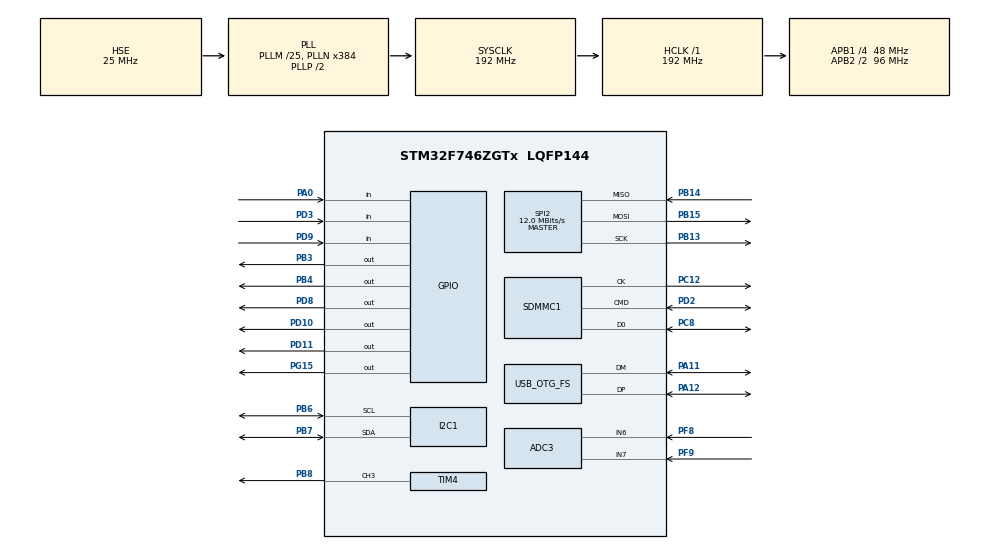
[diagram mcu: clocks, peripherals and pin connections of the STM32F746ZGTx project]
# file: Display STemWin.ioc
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ADC3.Channel-0\#ChannelRegularConversion=ADC_CHANNEL_6
ADC3.Channel-1\#ChannelRegularConversion=ADC_CHANNEL_7
ADC3.DMAContinuousRequests=ENABLE
ADC3.EOCSelection=ADC_EOC_SEQ_CONV
ADC3.NbrOfConversion=2
ADC3.NbrOfConversionFlag=1
ADC3.Rank-0\#ChannelRegularConversion=1
ADC3.Rank-1\#ChannelRegularConversion=2
ADC3.SamplingTime-0\#ChannelRegularConversion=ADC_SAMPLETIME_15CYCLES
ADC3.SamplingTime-1\#ChannelRegularConversion=ADC_SAMPLETIME_28CYCLES
ADC3.ScanConvMode=ADC_SCAN_ENABLE
CORTEX_M7.ART_ACCLERATOR_ENABLE=1
CORTEX_M7.CPU_DCache=Enabled
CORTEX_M7.CPU_ICache=Enabled
CORTEX_M7.PREFETCH_ENABLE=1
Dma.ADC3.0.Direction=DMA_PERIPH_TO_MEMORY
Dma.ADC3.0.FIFOMode=DMA_FIFOMODE_DISABLE
Dma.ADC3.0.Instance=DMA2_Stream0
Dma.ADC3.0.MemDataAlignment=DMA_MDATAALIGN_WORD
Dma.ADC3.0.MemInc=DMA_MINC_ENABLE
Dma.ADC3.0.Mode=DMA_CIRCULAR
Dma.ADC3.0.PeriphDataAlignment=DMA_PDATAALIGN_WORD
Dma.ADC3.0.PeriphInc=DMA_PINC_DISABLE
Dma.ADC3.0.Priority=DMA_PRIORITY_LOW
Dma.Request0=ADC3
FATFS._LFN_UNICODE=0
FATFS._MAX_SS=4096
FATFS._USE_FIND=1
FATFS._USE_LFN=3
I2C1.Timing=0x20303E5D
Mcu.Family=STM32F7
Mcu.Name=STM32F746ZGTx
Mcu.Package=LQFP144
NVIC.ADC_IRQn=true\:0\:0\:false\:false\:true\:true
NVIC.DMA2_Stream0_IRQn=true\:0\:0\:false\:false\:true\:false
NVIC.HASH_RNG_IRQn=true\:0\:0\:false\:false\:true\:true
NVIC.OTG_FS_IRQn=true\:0\:0\:false\:false\:true\:true
NVIC.PriorityGroup=NVIC_PRIORITYGROUP_4
NVIC.RCC_IRQn=true\:0\:0\:false\:false\:true\:true
NVIC.SDMMC1_IRQn=true\:0\:0\:false\:false\:true\:true
NVIC.SPI2_IRQn=true\:0\:0\:false\:false\:true\:true
NVIC.TIM3_IRQn=true\:0\:0\:false\:false\:true\:true
PA0/WKUP.Signal=GPIO_Input
PA11.Mode=Device_Only
PA11.Signal=USB_OTG_FS_DM
PA12.Mode=Device_Only
PA12.Signal=USB_OTG_FS_DP
PB13.Mode=Full_Duplex_Master
PB13.Signal=SPI2_SCK
PB14.Mode=Full_Duplex_Master
PB14.Signal=SPI2_MISO
PB15.Mode=Full_Duplex_Master
PB15.Signal=SPI2_MOSI
PB3.GPIO_Speed=GPIO_SPEED_FREQ_VERY_HIGH
PB3.Signal=GPIO_Output
PB4.GPIO_Speed=GPIO_SPEED_FREQ_VERY_HIGH
PB4.Signal=GPIO_Output
PB6.Mode=I2C
PB6.Signal=I2C1_SCL
PB7.Mode=I2C
PB7.Signal=I2C1_SDA
PB8.Signal=S_TIM4_CH3
PC12.Mode=SD_1_bit
PC12.Signal=SDMMC1_CK
PC14/OSC32_IN.Mode=LSE-External-Oscillator
PC14/OSC32_IN.Signal=RCC_OSC32_IN
PC15/OSC32_OUT.Mode=LSE-External-Oscillator
PC15/OSC32_OUT.Signal=RCC_OSC32_OUT
PC8.Mode=SD_1_bit
PC8.Signal=SDMMC1_D0
PD10.GPIO_Speed=GPIO_SPEED_FREQ_VERY_HIGH
PD10.Signal=GPIO_Output
PD11.GPIO_Speed=GPIO_SPEED_FREQ_VERY_HIGH
PD11.Signal=GPIO_Output
PD2.Mode=SD_1_bit
PD2.Signal=SDMMC1_CMD
PD3.Signal=GPIO_Input
PD8.GPIO_Speed=GPIO_SPEED_FREQ_VERY_HIGH
PD8.Signal=GPIO_Output
PD9.Signal=GPIO_Input
PF8.Mode=IN6
PF8.Signal=ADC3_IN6
PF9.Mode=IN7
PF9.Signal=ADC3_IN7
PG15.GPIO_Speed=GPIO_SPEED_FREQ_VERY_HIGH
PG15.Signal=GPIO_Output
PH0/OSC_IN.Mode=HSE-External-Oscillator
PH0/OSC_IN.Signal=RCC_OSC_IN
PH1/OSC_OUT.Mode=HSE-External-Oscillator
PH1/OSC_OUT.Signal=RCC_OSC_OUT
ProjectManager.HeapSize=0x200
ProjectManager.StackSize=0x400
ProjectManager.TargetToolchain=SW4STM32
RCC.AHBFreq_Value=192000000
RCC.APB1CLKDivider=RCC_HCLK_DIV4
RCC.APB1Freq_Value=48000000
RCC.APB1TimFreq_Value=96000000
RCC.APB2CLKDivider=RCC_HCLK_DIV2
RCC.APB2Freq_Value=96000000
RCC.APB2TimFreq_Value=192000000
RCC.CortexFreq_Value=192000000
RCC.HCLKFreq_Value=192000000
RCC.HSE_VALUE=25000000
RCC.HSI_VALUE=16000000
RCC.PLLM=25
RCC.PLLN=384
RCC.PLLQ=8
RCC.SDMMCClockSelection=RCC_SDMMC1CLKSOURCE_CLK48
RCC.SYSCLKFreq_VALUE=192000000
RCC.SYSCLKSource=RCC_SYSCLKSOURCE_PLLCLK
RCC.USBFreq_Value=48000000
RCC.VCOOutputFreq_Value=384000000
RTC.Date=7
RTC.Format=RTC_FORMAT_BIN
RTC.Month=RTC_MONTH_JULY
RTC.WeekDay=RTC_WEEKDAY_MONDAY
RTC.Year=19
SH.S_TIM4_CH3.0=TIM4_CH3,PWM Generation3 CH3
SPI2.BaudRatePrescaler=SPI_BAUDRATEPRESCALER_4
SPI2.CalculateBaudRate=12.0 MBits/s
SPI2.DataSize=SPI_DATASIZE_8BIT
SPI2.Direction=SPI_DIRECTION_2LINES
SPI2.Mode=SPI_MODE_MASTER
SPI2.VirtualType=VM_MASTER
TIM3.Period=200
TIM3.Prescaler=27
TIM4.Channel-PWM\ Generation3\ CH3=TIM_CHANNEL_3
TIM4.OCPolarity_3=TIM_OCPOLARITY_LOW
TIM4.Period=200
TIM4.Prescaler=108
USB_DEVICE.APP_RX_DATA_SIZE-CDC_FS=256
USB_DEVICE.APP_TX_DATA_SIZE-CDC_FS=256
USB_DEVICE.CLASS_NAME_FS=CDC
USB_DEVICE.VirtualMode-CDC_FS=Cdc
USB_DEVICE.VirtualModeFS=Cdc_FS
USB_OTG_FS.VirtualMode=Device_Only
VP_CRC_VS_CRC.Mode=CRC_Activate
VP_FATFS_VS_SDIO.Mode=SDIO
VP_RNG_VS_RNG.Mode=RNG_Activate
VP_RTC_VS_RTC_Activate.Mode=RTC_Enabled
VP_RTC_VS_RTC_Calendar.Mode=RTC_Calendar
VP_TIM3_VS_ClockSourceINT.Mode=Internal
VP_TIM4_VS_ClockSourceINT.Mode=Internal
VP_USB_DEVICE_VS_USB_DEVICE_CDC_FS.Mode=CDC_FS
board=custom

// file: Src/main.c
/**
  ******************************************************************************
  * @file           : main.c
  * @brief          : Main program body
  ******************************************************************************
  * This notice applies to any and all portions of this file
  * that are not between comment pairs USER CODE BEGIN and
  * USER CODE END. Other portions of this file, whether
  * inserted by the user or by software development tools
  * are owned by their respective copyright owners.
  *
  * Copyright (c) 2019 STMicroelectronics International N.V.
  * All rights reserved.
  *
  * Redistribution and use in source and binary forms, with or without
  * modification, are permitted, provided that the following conditions are met:
  *
  * 1. Redistribution of source code must retain the above copyright notice,
  *    this list of conditions and the following disclaimer.
  * 2. Redistributions in binary form must reproduce the above copyright notice,
  *    this list of conditions and the following disclaimer in the documentation
  *    and/or other materials provided with the distribution.
  * 3. Neither the name of STMicroelectronics nor the names of other
  *    contributors to this software may be used to endorse or promote products
  *    derived from this software without specific written permission.
  * 4. This software, including modifications and/or derivative works of this
  *    software, must execute solely and exclusively on microcontroller or
  *    microprocessor devices manufactured by or for STMicroelectronics.
  * 5. Redistribution and use of this software other than as permitted under
  *    this license is void and will automatically terminate your rights under
  *    this license.
  *
  * THIS SOFTWARE IS PROVIDED BY STMICROELECTRONICS AND CONTRIBUTORS "AS IS"
  * AND ANY EXPRESS, IMPLIED OR STATUTORY WARRANTIES, INCLUDING, BUT NOT
  * LIMITED TO, THE IMPLIED WARRANTIES OF MERCHANTABILITY, FITNESS FOR A
  * PARTICULAR PURPOSE AND NON-INFRINGEMENT OF THIRD PARTY INTELLECTUAL PROPERTY
  * RIGHTS ARE DISCLAIMED TO THE FULLEST EXTENT PERMITTED BY LAW. IN NO EVENT
  * SHALL STMICROELECTRONICS OR CONTRIBUTORS BE LIABLE FOR ANY DIRECT, INDIRECT,
  * INCIDENTAL, SPECIAL, EXEMPLARY, OR CONSEQUENTIAL DAMAGES (INCLUDING, BUT NOT
  * LIMITED TO, PROCUREMENT OF SUBSTITUTE GOODS OR SERVICES; LOSS OF USE, DATA,
  * OR PROFITS; OR BUSINESS INTERRUPTION) HOWEVER CAUSED AND ON ANY THEORY OF
  * LIABILITY, WHETHER IN CONTRACT, STRICT LIABILITY, OR TORT (INCLUDING
  * NEGLIGENCE OR OTHERWISE) ARISING IN ANY WAY OUT OF THE USE OF THIS SOFTWARE,
  * EVEN IF ADVISED OF THE POSSIBILITY OF SUCH DAMAGE.
  *
  ******************************************************************************
  */
#include "main.h"
#include "stm32f7xx_hal.h"
#include "fatfs.h"
#include "usb_device.h"

/* USER CODE BEGIN Includes */
#include "usbd_cdc_if.h"
#include "GUI.h"
//hardware
#include "STMPE610.h"
#include "SSD1963.h"
#include "VS1053.h"
#include "ADXL345.h"
//software
#include "MP3.h"
#include "loadFromSD.h"
//windows
#include "LEDDLG.h"
#include "BUZZERDLG.h"
#include "INFODLG.h"
#include "MP3DLG.h"
#include "LIGHTDLG.h"
#include "MENUDLG.h"
#include "TEMPDLG.h"
#include "ACCELDLG.h"
#include "TIMEDLG.h"
#include "FILESDLG.h"
#include "SETTIMEDLG.h"
#include "SETDATEDLG.h"
#include "USBDLG.h"
#include "QWERTYDLG.h"

/* USER CODE END Includes */

ADC_HandleTypeDef hadc3;
DMA_HandleTypeDef hdma_adc3;

CRC_HandleTypeDef hcrc;

I2C_HandleTypeDef hi2c1;

RNG_HandleTypeDef hrng;

RTC_HandleTypeDef hrtc;

SD_HandleTypeDef hsd1;

SPI_HandleTypeDef hspi2;

TIM_HandleTypeDef htim3;
TIM_HandleTypeDef htim4;

/* USER CODE BEGIN PV */
/* Private variables ---------------------------------------------------------*/
#define RED 	0xF800
#define GREEN 	0x07E0
#define BLUE 	0x001F

// main menu items
#define MENU 	0x00
#define LED 	0x10
#define TEMP 	0x20
#define LIGHT 	0x30
#define ACCEL 	0x40
#define TIME 	0x50
#define TOUCH 	0x60
#define SLIDE 	0x70
#define BUZZER 	0x80
#define MP3 	0x90
#define USB 	0xA0
#define FILES 	0xB0
#define INFO 	0xC0
#define SETTIME 0xD0
#define SETDATE 0xE0

//variable
uint8_t state=0;
int keyPressed=0;
int8_t val=0;
uint16_t c=0, i=0, j=0, k=0;
uint16_t x_accel=0;
uint16_t y_accel=0;
uint16_t z_accel=0;
WM_HWIN hWin, hWin1;
char dataADC[20];
char dataLOG[20];
uint32_t ADC_BUF[2], ADC_Result, ad1, ad2;
float pom=0;
int scroll_state;
int volume=0;
uint8_t slider_RED=0, slider_GREEN=0, slider_BLUE=0, graph=0, backlight=0xC0, logg=0, SD_present=0;
uint16_t counter_LED=0, GUI_timer=0;
//uint8_t img_line[480*8*3]={0};
FATFS myFAT;
FIL myFile, AccelFile;
FRESULT res;

uint8_t myData[]="Hello world!!!\n";

UINT byteCount;

extern uint8_t UserRxBufferFS[256];
extern char message[256];
extern unsigned int cursor;

int RcalX[3]={24, 240, 456};
int RcalY[3]={14, 258, 136};
int ScalX[3]={336, 2039, 3742};
int ScalY[3]={510, 3640, 2077};

GRAPH_DATA_Handle hData;
GRAPH_DATA_Handle hData1;
GRAPH_DATA_Handle hData2;
RTC_TimeTypeDef htime;
RTC_DateTypeDef hdate;

GUI_PID_STATE hstate;

/* USER CODE END PV */

void SystemClock_Config(void);
static void MX_GPIO_Init(void);
static void MX_DMA_Init(void);
static void MX_I2C1_Init(void);
static void MX_SPI2_Init(void);
static void MX_SDMMC1_SD_Init(void);
static void MX_ADC3_Init(void);
static void MX_CRC_Init(void);
static void MX_RNG_Init(void);
static void MX_RTC_Init(void);
static void MX_TIM3_Init(void);
static void MX_TIM4_Init(void);

void HAL_TIM_MspPostInit(TIM_HandleTypeDef *htim);

/* USER CODE BEGIN PFP */
void Menu_State_Exec(void);
/* Private function prototypes -----------------------------------------------*/
extern volatile GUI_TIMER_TIME OS_TimeMS;
void HAL_SYSTICK_Callback(void)
{
	OS_TimeMS++;
}

/* USER CODE END PFP */

int main(void)
{

  /* Enable I-Cache-------------------------------------------------------------*/
  SCB_EnableICache();

  /* Enable D-Cache-------------------------------------------------------------*/
  SCB_EnableDCache();

  /* MCU Configuration----------------------------------------------------------*/

  /* Reset of all peripherals, Initializes the Flash interface and the Systick. */
  HAL_Init();

  /* Configure the system clock */
  SystemClock_Config();

  /* Initialize all configured peripherals */
  MX_GPIO_Init();
  MX_DMA_Init();
  MX_I2C1_Init();
  MX_SPI2_Init();
  MX_SDMMC1_SD_Init();
  MX_FATFS_Init();
  MX_USB_DEVICE_Init();
  MX_ADC3_Init();
  MX_CRC_Init();
  MX_RNG_Init();
  MX_RTC_Init();
  MX_TIM3_Init();
  MX_TIM4_Init();
  /* USER CODE BEGIN 2 */
  Init_LCD_GPIO();
  Init_TOUCH_GPIO(hi2c1);
  Init_ACCEL_GPIO(hi2c1);
  Init_MP3_GPIO(hspi2);

  HAL_Delay(1000);
  ADXL345_Init();
  VS1053_Init();

  WM_SetCreateFlags(WM_CF_MEMDEV); // eliminise flickering
  GUI_Init();
  GUI_Clear();

  SSD1963_SetScrollArea(0, 272, 544);
  SSD1963_SetScrollStart(0);
  GUI_Clear();

  FATFS_UnLinkDriver(SDPath);

  hWin=CreateMENU();
  SSD1963_SetScrollStart(0);

  HAL_ADC_Start_DMA(&hadc3,(uint32_t*)ADC_BUF, 2);
  HAL_ADC_Start_IT(&hadc3);

  HAL_TIM_Base_Start_IT(&htim3);

  HAL_Delay(100);

  /* USER CODE END 2 */

  /* Infinite loop */
  /* USER CODE BEGIN WHILE */
  while (1)
  {
	  HAL_ADC_Start_IT(&hadc3);
	  GUI_Delay(1);
	  STMPE610_read_xyz();
	  GUI_TOUCH_Exec();
	  keyPressed=GUI_GetKey();
	  Menu_State_Exec();
  /* USER CODE END WHILE */

  }

}

void SystemClock_Config(void)
{

  RCC_OscInitTypeDef RCC_OscInitStruct;
  RCC_ClkInitTypeDef RCC_ClkInitStruct;
  RCC_PeriphCLKInitTypeDef PeriphClkInitStruct;

    /**Configure the main internal regulator output voltage
    */
  __HAL_RCC_PWR_CLK_ENABLE();

  __HAL_PWR_VOLTAGESCALING_CONFIG(PWR_REGULATOR_VOLTAGE_SCALE1);

    /**Initializes the CPU, AHB and APB busses clocks
    */
  RCC_OscInitStruct.OscillatorType = RCC_OSCILLATORTYPE_LSI|RCC_OSCILLATORTYPE_HSE;
  RCC_OscInitStruct.HSEState = RCC_HSE_ON;
  RCC_OscInitStruct.LSIState = RCC_LSI_ON;
  RCC_OscInitStruct.PLL.PLLState = RCC_PLL_ON;
  RCC_OscInitStruct.PLL.PLLSource = RCC_PLLSOURCE_HSE;
  RCC_OscInitStruct.PLL.PLLM = 25;
  RCC_OscInitStruct.PLL.PLLN = 384;
  RCC_OscInitStruct.PLL.PLLP = RCC_PLLP_DIV2;
  RCC_OscInitStruct.PLL.PLLQ = 8;
  if (HAL_RCC_OscConfig(&RCC_OscInitStruct) != HAL_OK)
  {
    _Error_Handler(__FILE__, __LINE__);
  }

    /**Activate the Over-Drive mode
    */
  if (HAL_PWREx_EnableOverDrive() != HAL_OK)
  {
    _Error_Handler(__FILE__, __LINE__);
  }

    /**Initializes the CPU, AHB and APB busses clocks
    */
  RCC_ClkInitStruct.ClockType = RCC_CLOCKTYPE_HCLK|RCC_CLOCKTYPE_SYSCLK
                              |RCC_CLOCKTYPE_PCLK1|RCC_CLOCKTYPE_PCLK2;
  RCC_ClkInitStruct.SYSCLKSource = RCC_SYSCLKSOURCE_PLLCLK;
  RCC_ClkInitStruct.AHBCLKDivider = RCC_SYSCLK_DIV1;
  RCC_ClkInitStruct.APB1CLKDivider = RCC_HCLK_DIV4;
  RCC_ClkInitStruct.APB2CLKDivider = RCC_HCLK_DIV2;

  if (HAL_RCC_ClockConfig(&RCC_ClkInitStruct, FLASH_LATENCY_6) != HAL_OK)
  {
    _Error_Handler(__FILE__, __LINE__);
  }

  PeriphClkInitStruct.PeriphClockSelection = RCC_PERIPHCLK_RTC|RCC_PERIPHCLK_I2C1
                              |RCC_PERIPHCLK_SDMMC1|RCC_PERIPHCLK_CLK48;
  PeriphClkInitStruct.RTCClockSelection = RCC_RTCCLKSOURCE_LSI;
  PeriphClkInitStruct.I2c1ClockSelection = RCC_I2C1CLKSOURCE_PCLK1;
  PeriphClkInitStruct.Clk48ClockSelection = RCC_CLK48SOURCE_PLL;
  PeriphClkInitStruct.Sdmmc1ClockSelection = RCC_SDMMC1CLKSOURCE_CLK48;
  if (HAL_RCCEx_PeriphCLKConfig(&PeriphClkInitStruct) != HAL_OK)
  {
    _Error_Handler(__FILE__, __LINE__);
  }

    /**Configure the Systick interrupt time
    */
  HAL_SYSTICK_Config(HAL_RCC_GetHCLKFreq()/1000);

    /**Configure the Systick
    */
  HAL_SYSTICK_CLKSourceConfig(SYSTICK_CLKSOURCE_HCLK);

  /* SysTick_IRQn interrupt configuration */
  HAL_NVIC_SetPriority(SysTick_IRQn, 0, 0);
}

/* ADC3 init function */
static void MX_ADC3_Init(void)
{

  ADC_ChannelConfTypeDef sConfig;

    /**Configure the global features of the ADC (Clock, Resolution, Data Alignment and number of conversion)
    */
  hadc3.Instance = ADC3;
  hadc3.Init.ClockPrescaler = ADC_CLOCK_SYNC_PCLK_DIV4;
  hadc3.Init.Resolution = ADC_RESOLUTION_12B;
  hadc3.Init.ScanConvMode = ADC_SCAN_ENABLE;
  hadc3.Init.ContinuousConvMode = DISABLE;
  hadc3.Init.DiscontinuousConvMode = DISABLE;
  hadc3.Init.ExternalTrigConvEdge = ADC_EXTERNALTRIGCONVEDGE_NONE;
  hadc3.Init.ExternalTrigConv = ADC_SOFTWARE_START;
  hadc3.Init.DataAlign = ADC_DATAALIGN_RIGHT;
  hadc3.Init.NbrOfConversion = 2;
  hadc3.Init.DMAContinuousRequests = ENABLE;
  hadc3.Init.EOCSelection = ADC_EOC_SEQ_CONV;
  if (HAL_ADC_Init(&hadc3) != HAL_OK)
  {
    _Error_Handler(__FILE__, __LINE__);
  }

    /**Configure for the selected ADC regular channel its corresponding rank in the sequencer and its sample time.
    */
  sConfig.Channel = ADC_CHANNEL_6;
  sConfig.Rank = ADC_REGULAR_RANK_1;
  sConfig.SamplingTime = ADC_SAMPLETIME_15CYCLES;
  if (HAL_ADC_ConfigChannel(&hadc3, &sConfig) != HAL_OK)
  {
    _Error_Handler(__FILE__, __LINE__);
  }

    /**Configure for the selected ADC regular channel its corresponding rank in the sequencer and its sample time.
    */
  sConfig.Channel = ADC_CHANNEL_7;
  sConfig.Rank = ADC_REGULAR_RANK_2;
  sConfig.SamplingTime = ADC_SAMPLETIME_28CYCLES;
  if (HAL_ADC_ConfigChannel(&hadc3, &sConfig) != HAL_OK)
  {
    _Error_Handler(__FILE__, __LINE__);
  }

}

/* CRC init function */
static void MX_CRC_Init(void)
{

  hcrc.Instance = CRC;
  hcrc.Init.DefaultPolynomialUse = DEFAULT_POLYNOMIAL_ENABLE;
  hcrc.Init.DefaultInitValueUse = DEFAULT_INIT_VALUE_ENABLE;
  hcrc.Init.InputDataInversionMode = CRC_INPUTDATA_INVERSION_NONE;
  hcrc.Init.OutputDataInversionMode = CRC_OUTPUTDATA_INVERSION_DISABLE;
  hcrc.InputDataFormat = CRC_INPUTDATA_FORMAT_BYTES;
  if (HAL_CRC_Init(&hcrc) != HAL_OK)
  {
    _Error_Handler(__FILE__, __LINE__);
  }

}

/* I2C1 init function */
static void MX_I2C1_Init(void)
{

  hi2c1.Instance = I2C1;
  hi2c1.Init.Timing = 0x20303E5D;
  hi2c1.Init.OwnAddress1 = 0;
  hi2c1.Init.AddressingMode = I2C_ADDRESSINGMODE_7BIT;
  hi2c1.Init.DualAddressMode = I2C_DUALADDRESS_DISABLE;
  hi2c1.Init.OwnAddress2 = 0;
  hi2c1.Init.OwnAddress2Masks = I2C_OA2_NOMASK;
  hi2c1.Init.GeneralCallMode = I2C_GENERALCALL_DISABLE;
  hi2c1.Init.NoStretchMode = I2C_NOSTRETCH_DISABLE;
  if (HAL_I2C_Init(&hi2c1) != HAL_OK)
  {
    _Error_Handler(__FILE__, __LINE__);
  }

    /**Configure Analogue filter
    */
  if (HAL_I2CEx_ConfigAnalogFilter(&hi2c1, I2C_ANALOGFILTER_ENABLE) != HAL_OK)
  {
    _Error_Handler(__FILE__, __LINE__);
  }

    /**Configure Digital filter
    */
  if (HAL_I2CEx_ConfigDigitalFilter(&hi2c1, 0) != HAL_OK)
  {
    _Error_Handler(__FILE__, __LINE__);
  }

}

/* RNG init function */
static void MX_RNG_Init(void)
{

  hrng.Instance = RNG;
  if (HAL_RNG_Init(&hrng) != HAL_OK)
  {
    _Error_Handler(__FILE__, __LINE__);
  }

}

/* RTC init function */
static void MX_RTC_Init(void)
{

  RTC_TimeTypeDef sTime;
  RTC_DateTypeDef sDate;

    /**Initialize RTC Only
    */
  hrtc.Instance = RTC;
  hrtc.Init.HourFormat = RTC_HOURFORMAT_24;
  hrtc.Init.AsynchPrediv = 127;
  hrtc.Init.SynchPrediv = 255;
  hrtc.Init.OutPut = RTC_OUTPUT_DISABLE;
  hrtc.Init.OutPutPolarity = RTC_OUTPUT_POLARITY_HIGH;
  hrtc.Init.OutPutType = RTC_OUTPUT_TYPE_OPENDRAIN;
  if (HAL_RTC_Init(&hrtc) != HAL_OK)
  {
    _Error_Handler(__FILE__, __LINE__);
  }

    /**Initialize RTC and set the Time and Date
    */
  sTime.Hours = 0;
  sTime.Minutes = 0;
  sTime.Seconds = 0;
  sTime.DayLightSaving = RTC_DAYLIGHTSAVING_NONE;
  sTime.StoreOperation = RTC_STOREOPERATION_RESET;
  if (HAL_RTC_SetTime(&hrtc, &sTime, RTC_FORMAT_BIN) != HAL_OK)
  {
    _Error_Handler(__FILE__, __LINE__);
  }

  sDate.WeekDay = RTC_WEEKDAY_MONDAY;
  sDate.Month = RTC_MONTH_JULY;
  sDate.Date = 7;
  sDate.Year = 19;

  if (HAL_RTC_SetDate(&hrtc, &sDate, RTC_FORMAT_BIN) != HAL_OK)
  {
    _Error_Handler(__FILE__, __LINE__);
  }

}

/* SDMMC1 init function */
static void MX_SDMMC1_SD_Init(void)
{

  hsd1.Instance = SDMMC1;
  hsd1.Init.ClockEdge = SDMMC_CLOCK_EDGE_RISING;
  hsd1.Init.ClockBypass = SDMMC_CLOCK_BYPASS_DISABLE;
  hsd1.Init.ClockPowerSave = SDMMC_CLOCK_POWER_SAVE_DISABLE;
  hsd1.Init.BusWide = SDMMC_BUS_WIDE_1B;
  hsd1.Init.HardwareFlowControl = SDMMC_HARDWARE_FLOW_CONTROL_DISABLE;
  hsd1.Init.ClockDiv = 0;

}

/* SPI2 init function */
static void MX_SPI2_Init(void)
{

  /* SPI2 parameter configuration*/
  hspi2.Instance = SPI2;
  hspi2.Init.Mode = SPI_MODE_MASTER;
  hspi2.Init.Direction = SPI_DIRECTION_2LINES;
  hspi2.Init.DataSize = SPI_DATASIZE_8BIT;
  hspi2.Init.CLKPolarity = SPI_POLARITY_LOW;
  hspi2.Init.CLKPhase = SPI_PHASE_1EDGE;
  hspi2.Init.NSS = SPI_NSS_SOFT;
  hspi2.Init.BaudRatePrescaler = SPI_BAUDRATEPRESCALER_4;
  hspi2.Init.FirstBit = SPI_FIRSTBIT_MSB;
  hspi2.Init.TIMode = SPI_TIMODE_DISABLE;
  hspi2.Init.CRCCalculation = SPI_CRCCALCULATION_DISABLE;
  hspi2.Init.CRCPolynomial = 7;
  hspi2.Init.CRCLength = SPI_CRC_LENGTH_DATASIZE;
  hspi2.Init.NSSPMode = SPI_NSS_PULSE_ENABLE;
  if (HAL_SPI_Init(&hspi2) != HAL_OK)
  {
    _Error_Handler(__FILE__, __LINE__);
  }

}

/* TIM3 init function */
static void MX_TIM3_Init(void)
{

  TIM_ClockConfigTypeDef sClockSourceConfig;
  TIM_MasterConfigTypeDef sMasterConfig;

  htim3.Instance = TIM3;
  htim3.Init.Prescaler = 27;
  htim3.Init.CounterMode = TIM_COUNTERMODE_UP;
  htim3.Init.Period = 200;
  htim3.Init.ClockDivision = TIM_CLOCKDIVISION_DIV1;
  htim3.Init.AutoReloadPreload = TIM_AUTORELOAD_PRELOAD_DISABLE;
  if (HAL_TIM_Base_Init(&htim3) != HAL_OK)
  {
    _Error_Handler(__FILE__, __LINE__);
  }

  sClockSourceConfig.ClockSource = TIM_CLOCKSOURCE_INTERNAL;
  if (HAL_TIM_ConfigClockSource(&htim3, &sClockSourceConfig) != HAL_OK)
  {
    _Error_Handler(__FILE__, __LINE__);
  }

  sMasterConfig.MasterOutputTrigger = TIM_TRGO_RESET;
  sMasterConfig.MasterSlaveMode = TIM_MASTERSLAVEMODE_DISABLE;
  if (HAL_TIMEx_MasterConfigSynchronization(&htim3, &sMasterConfig) != HAL_OK)
  {
    _Error_Handler(__FILE__, __LINE__);
  }

}

/* TIM4 init function */
static void MX_TIM4_Init(void)
{

  TIM_ClockConfigTypeDef sClockSourceConfig;
  TIM_MasterConfigTypeDef sMasterConfig;
  TIM_OC_InitTypeDef sConfigOC;

  htim4.Instance = TIM4;
  htim4.Init.Prescaler = 108;
  htim4.Init.CounterMode = TIM_COUNTERMODE_UP;
  htim4.Init.Period = 200;
  htim4.Init.ClockDivision = TIM_CLOCKDIVISION_DIV1;
  htim4.Init.AutoReloadPreload = TIM_AUTORELOAD_PRELOAD_DISABLE;
  if (HAL_TIM_Base_Init(&htim4) != HAL_OK)
  {
    _Error_Handler(__FILE__, __LINE__);
  }

  sClockSourceConfig.ClockSource = TIM_CLOCKSOURCE_INTERNAL;
  if (HAL_TIM_ConfigClockSource(&htim4, &sClockSourceConfig) != HAL_OK)
  {
    _Error_Handler(__FILE__, __LINE__);
  }

  if (HAL_TIM_PWM_Init(&htim4) != HAL_OK)
  {
    _Error_Handler(__FILE__, __LINE__);
  }

  sMasterConfig.MasterOutputTrigger = TIM_TRGO_RESET;
  sMasterConfig.MasterSlaveMode = TIM_MASTERSLAVEMODE_DISABLE;
  if (HAL_TIMEx_MasterConfigSynchronization(&htim4, &sMasterConfig) != HAL_OK)
  {
    _Error_Handler(__FILE__, __LINE__);
  }

  sConfigOC.OCMode = TIM_OCMODE_PWM1;
  sConfigOC.Pulse = 0;
  sConfigOC.OCPolarity = TIM_OCPOLARITY_LOW;
  sConfigOC.OCFastMode = TIM_OCFAST_DISABLE;
  if (HAL_TIM_PWM_ConfigChannel(&htim4, &sConfigOC, TIM_CHANNEL_3) != HAL_OK)
  {
    _Error_Handler(__FILE__, __LINE__);
  }

  HAL_TIM_MspPostInit(&htim4);

}

static void MX_DMA_Init(void)
{
  /* DMA controller clock enable */
  __HAL_RCC_DMA2_CLK_ENABLE();

  /* DMA interrupt init */
  /* DMA2_Stream0_IRQn interrupt configuration */
  HAL_NVIC_SetPriority(DMA2_Stream0_IRQn, 0, 0);
  HAL_NVIC_EnableIRQ(DMA2_Stream0_IRQn);

}

/** Configure pins as
        * Analog
        * Input
        * Output
        * EVENT_OUT
        * EXTI
*/
static void MX_GPIO_Init(void)
{

  GPIO_InitTypeDef GPIO_InitStruct;

  /* GPIO Ports Clock Enable */
  __HAL_RCC_GPIOC_CLK_ENABLE();
  __HAL_RCC_GPIOF_CLK_ENABLE();
  __HAL_RCC_GPIOH_CLK_ENABLE();
  __HAL_RCC_GPIOA_CLK_ENABLE();
  __HAL_RCC_GPIOB_CLK_ENABLE();
  __HAL_RCC_GPIOD_CLK_ENABLE();
  __HAL_RCC_GPIOG_CLK_ENABLE();

  /*Configure GPIO pin Output Level */
  HAL_GPIO_WritePin(GPIOD, GPIO_PIN_8|GPIO_PIN_10|GPIO_PIN_11, GPIO_PIN_RESET);

  /*Configure GPIO pin Output Level */
  HAL_GPIO_WritePin(GPIOG, GPIO_PIN_15, GPIO_PIN_RESET);

  /*Configure GPIO pin Output Level */
  HAL_GPIO_WritePin(GPIOB, GPIO_PIN_3|GPIO_PIN_4, GPIO_PIN_RESET);

  /*Configure GPIO pin : PA0 */
  GPIO_InitStruct.Pin = GPIO_PIN_0;
  GPIO_InitStruct.Mode = GPIO_MODE_INPUT;
  GPIO_InitStruct.Pull = GPIO_NOPULL;
  HAL_GPIO_Init(GPIOA, &GPIO_InitStruct);

  /*Configure GPIO pins : PD8 PD10 PD11 */
  GPIO_InitStruct.Pin = GPIO_PIN_8|GPIO_PIN_10|GPIO_PIN_11;
  GPIO_InitStruct.Mode = GPIO_MODE_OUTPUT_PP;
  GPIO_InitStruct.Pull = GPIO_NOPULL;
  GPIO_InitStruct.Speed = GPIO_SPEED_FREQ_VERY_HIGH;
  HAL_GPIO_Init(GPIOD, &GPIO_InitStruct);

  /*Configure GPIO pins : PD9 PD3 */
  GPIO_InitStruct.Pin = GPIO_PIN_9|GPIO_PIN_3;
  GPIO_InitStruct.Mode = GPIO_MODE_INPUT;
  GPIO_InitStruct.Pull = GPIO_NOPULL;
  HAL_GPIO_Init(GPIOD, &GPIO_InitStruct);

  /*Configure GPIO pin : PG15 */
  GPIO_InitStruct.Pin = GPIO_PIN_15;
  GPIO_InitStruct.Mode = GPIO_MODE_OUTPUT_PP;
  GPIO_InitStruct.Pull = GPIO_NOPULL;
  GPIO_InitStruct.Speed = GPIO_SPEED_FREQ_VERY_HIGH;
  HAL_GPIO_Init(GPIOG, &GPIO_InitStruct);

  /*Configure GPIO pins : PB3 PB4 */
  GPIO_InitStruct.Pin = GPIO_PIN_3|GPIO_PIN_4;
  GPIO_InitStruct.Mode = GPIO_MODE_OUTPUT_PP;
  GPIO_InitStruct.Pull = GPIO_NOPULL;
  GPIO_InitStruct.Speed = GPIO_SPEED_FREQ_VERY_HIGH;
  HAL_GPIO_Init(GPIOB, &GPIO_InitStruct);

}

/* USER CODE BEGIN 4 */

void HAL_ADC_ConvHalfCpltCallback(ADC_HandleTypeDef* hadc)
{
	if(hadc->Instance==ADC3)
	{
		ad1=ADC_BUF[0];
		ad2=ADC_BUF[1];
	}

}

void HAL_TIM_PeriodElapsedCallback(TIM_HandleTypeDef *htim)
{

	if(htim->Instance==TIM3)
	{
		counter_LED++;
		if(counter_LED==255)
		{
			counter_LED=0;

			if(counter_LED==slider_GREEN)HAL_GPIO_WritePin(GPIOB, GPIO_PIN_3, GPIO_PIN_RESET);
			else HAL_GPIO_WritePin(GPIOB, GPIO_PIN_3, GPIO_PIN_SET);
			if(counter_LED==slider_BLUE)HAL_GPIO_WritePin(GPIOB, GPIO_PIN_4, GPIO_PIN_RESET);
			else HAL_GPIO_WritePin(GPIOB, GPIO_PIN_4, GPIO_PIN_SET);
			if(counter_LED==slider_RED)HAL_GPIO_WritePin(GPIOG, GPIO_PIN_15, GPIO_PIN_RESET);
			else HAL_GPIO_WritePin(GPIOG, GPIO_PIN_15, GPIO_PIN_SET);
		}

		if(counter_LED==slider_GREEN)HAL_GPIO_WritePin(GPIOB, GPIO_PIN_3, GPIO_PIN_RESET);
		if(counter_LED==slider_BLUE)HAL_GPIO_WritePin(GPIOB, GPIO_PIN_4, GPIO_PIN_RESET);
		if(counter_LED==slider_RED)HAL_GPIO_WritePin(GPIOG, GPIO_PIN_15, GPIO_PIN_RESET);
	}

}

void Menu_State_Exec(void)
{
	  switch (state)
	  {
	  	  case MENU:
	  		  switch(keyPressed)
	  		  {
	  		  	  case (GUI_ID_USER + LED): // LED Control
	  							scroll_state=SCROLLBAR_GetValue(WM_GetDialogItem(hWin, (GUI_ID_USER + 0x0E)));
	  							WM_DeleteWindow(hWin);
	  							state=LED;
	  							hWin=CreateLED();
	  							GUI_Delay(200);
	  							break;
	  		  	  case (GUI_ID_USER + TEMP): // Temperature
	  							scroll_state=SCROLLBAR_GetValue(WM_GetDialogItem(hWin, (GUI_ID_USER + 0x0E)));
	  							WM_DeleteWindow(hWin);
	  							state=TEMP;
	  							hWin=CreateTEMP();
	  							GUI_Delay(200);
	  							break;
	  		  	  case (GUI_ID_USER + LIGHT): // Light
	  							scroll_state=SCROLLBAR_GetValue(WM_GetDialogItem(hWin, (GUI_ID_USER + 0x0E)));
	  							WM_DeleteWindow(hWin);
	  							state=LIGHT;
	  							hWin=CreateLIGHT();
	  							SLIDER_SetValue(WM_GetDialogItem(hWin, (GUI_ID_USER + 0x07 + LIGHT)), backlight);
	  							GUI_Delay(200);
	  							break;
	  		  	  case (GUI_ID_USER + ACCEL): // Accelerometer
	  							scroll_state=SCROLLBAR_GetValue(WM_GetDialogItem(hWin, (GUI_ID_USER + 0x0E)));
	  							WM_DeleteWindow(hWin);
	  							state=ACCEL;
	  							hWin=CreateACCEL();
	  							hData=GRAPH_DATA_YT_Create(GUI_BLUE, 440, 0, 0);
	  							GRAPH_AttachData(WM_GetDialogItem(hWin, (GUI_ID_USER + 0x01+ACCEL)), hData);
	  							hData1=GRAPH_DATA_YT_Create(GUI_DARKGREEN , 440, 0, 0);
	  							GRAPH_AttachData(WM_GetDialogItem(hWin, (GUI_ID_USER + 0x01+ACCEL)), hData1);
	  							hData2=GRAPH_DATA_YT_Create(GUI_RED , 440, 0, 0);
	  							GRAPH_AttachData(WM_GetDialogItem(hWin, (GUI_ID_USER + 0x01+ACCEL)), hData2);
	  							if(SD_present)CHECKBOX_SetTextColor (WM_GetDialogItem(hWin, (GUI_ID_USER + 0x04 +	ACCEL)), GUI_BLACK);
	  							else  CHECKBOX_SetTextColor (WM_GetDialogItem(hWin, (GUI_ID_USER + 0x04 +	ACCEL)), GUI_RED);
	  							graph=1;
	  							GUI_Delay(200);
	  							break;
	  		  	  case (GUI_ID_USER + TIME): // Time/Date
	  							scroll_state=SCROLLBAR_GetValue(WM_GetDialogItem(hWin, (GUI_ID_USER + 0x0E)));
	  							WM_DeleteWindow(hWin);
	  							state=TIME;
	  							hWin=CreateTIME();
	  							GUI_Delay(200);
	  							break;
	  		  	  case (GUI_ID_USER + TOUCH): // Touch calibration
	  							scroll_state=SCROLLBAR_GetValue(WM_GetDialogItem(hWin, (GUI_ID_USER + 0x0E)));
	  							WM_DeleteWindow(hWin);
	  							GUI_Clear();
	  							state=TOUCH;
	  							break;
	  		  	  case (GUI_ID_USER + SLIDE): // Image SlideShow
	  							scroll_state=SCROLLBAR_GetValue(WM_GetDialogItem(hWin, (GUI_ID_USER + 0x0E)));
	  							WM_DeleteWindow(hWin);
	  							GUI_Clear();
	  							state=SLIDE;
	  							break;
	  		  	 case (GUI_ID_USER + MP3)://MP3
	  							scroll_state=SCROLLBAR_GetValue(WM_GetDialogItem(hWin, (GUI_ID_USER + 0x0E)));
	  							WM_DeleteWindow(hWin);
	  							GUI_Clear();
	  							state=MP3;
	  							hWin=CreateMP3();
	  							MP3_MountSD();
	  							PopulateMP3List(hWin);
	  							MP3_SetState(STOP);
	  							MP3_Exec();
	  							GUI_Delay(200);
	  				  	  	  	break;
	  		  	 case (GUI_ID_USER + BUZZER)://Buzzer
	  							scroll_state=SCROLLBAR_GetValue(WM_GetDialogItem(hWin, (GUI_ID_USER + 0x0E)));
	  							WM_DeleteWindow(hWin);
	  							GUI_Clear();
	  							state=BUZZER;
	  							hWin=CreateBUZZER();
	  							GUI_Delay(200);
	  							break;
	  		  	 case (GUI_ID_USER + USB)://USB
	  							scroll_state=SCROLLBAR_GetValue(WM_GetDialogItem(hWin, (GUI_ID_USER + 0x0E)));
	  							WM_DeleteWindow(hWin);
	  							GUI_Clear();
	  							state=USB;
	  							hWin=CreateUSB();
	  							hWin1=CreateQWERTY();
	  							GUI_Delay(200);
	  							break;
	  		  	 case (GUI_ID_USER + FILES)://Files
	  							scroll_state=SCROLLBAR_GetValue(WM_GetDialogItem(hWin, (GUI_ID_USER + 0x0E)));
	  							WM_DeleteWindow(hWin);
	  							GUI_Clear();
	  							state=FILES;
	  							hWin=CreateFILES();
	  							GUI_Delay(200);
	  							break;
	  		  	 case (GUI_ID_USER + INFO): //Info
	  							scroll_state=SCROLLBAR_GetValue(WM_GetDialogItem(hWin, (GUI_ID_USER + 0x0E)));
	  							WM_DeleteWindow(hWin);
	  							GUI_Clear();
	  							state=INFO;
	  							hWin=CreateINFO();
	  							GUI_Delay(200);
	  							break;
	  		  }
	  		  break;
	  	  case LED:
	  		  slider_RED=SLIDER_GetValue(WM_GetDialogItem(hWin, (GUI_ID_USER + 0x05 + LED)));
	  		  sprintf((char*)dataADC, "%d", slider_RED);
	  		  EDIT_SetText(WM_GetDialogItem(hWin, (GUI_ID_USER + 0x06 + LED)), dataADC);

	  		  slider_GREEN=SLIDER_GetValue(WM_GetDialogItem(hWin, (GUI_ID_USER + 0x03 + LED)));
	  		  sprintf((char*)dataADC, "%d", slider_GREEN);
	  		  EDIT_SetText(WM_GetDialogItem(hWin, (GUI_ID_USER + 0x04 + LED)), dataADC);

	  		  slider_BLUE=SLIDER_GetValue(WM_GetDialogItem(hWin, (GUI_ID_USER + 0x01 + LED)));
	  		  sprintf((char*)dataADC, "%d", slider_BLUE);
	  		  EDIT_SetText(WM_GetDialogItem(hWin, (GUI_ID_USER + 0x02 + LED)), dataADC);

	  		  if(keyPressed==(GUI_ID_USER + 0x0B + LED)) // close btn
	  		  {
					WM_DeleteWindow(hWin);
					state=MENU;
					hWin=CreateMENU();
					SCROLLBAR_SetValue(WM_GetDialogItem(hWin, (GUI_ID_USER + 0x0E)),scroll_state);
					GUI_Delay(200);
	  		  }
	  		  break;
	  	  case TEMP:
	  		  pom=(float)ad1;
	  		  pom=100.0*((pom)/(2048)-0.5);
	  		  sprintf((char*)dataADC, "%d", (uint16_t)pom);
	  		  EDIT_SetText(WM_GetDialogItem(hWin, (GUI_ID_USER + 0x05 + TEMP)), dataADC);
	  		  if(keyPressed==(GUI_ID_USER + 0x04 + TEMP)) //close btn
	  		  {
					WM_DeleteWindow(hWin);
					state=MENU;
					hWin=CreateMENU();
					SCROLLBAR_SetValue(WM_GetDialogItem(hWin, (GUI_ID_USER + 0x0E)),scroll_state);
					GUI_Delay(200);
	  		  }
	  		  break;
	  	  case LIGHT:
	  		  pom=(float)ad2;
	  		  pom=100.0*(pom)/(4095);
	  		  backlight=(uint8_t)SLIDER_GetValue(WM_GetDialogItem(hWin, (GUI_ID_USER + 0x07 + LIGHT)));
	  		  SSD1963_SetBacklight(backlight);
	  		  sprintf((char*)dataADC, "%d", (uint16_t)pom);
	  		  EDIT_SetText(WM_GetDialogItem(hWin, (GUI_ID_USER + 0x04 + LIGHT)), dataADC);
	  		  PROGBAR_SetValue(WM_GetDialogItem(hWin, (GUI_ID_USER + 0x01 + LIGHT)), ad2);
	  		  if(keyPressed==(GUI_ID_USER + 0x03 + LIGHT)) //close btn
	  		  {
					WM_DeleteWindow(hWin);
					state=MENU;
					hWin=CreateMENU();
					SCROLLBAR_SetValue(WM_GetDialogItem(hWin, (GUI_ID_USER + 0x0E)),scroll_state);
					GUI_Delay(200);
	  		  }
	  		  break;
	  	  case ACCEL:
	  		  ADXL345_read_xyz();
			  x_accel=(int)ADXL345_GetX_ACCEL()+400;
			  y_accel=(int)ADXL345_GetY_ACCEL()+400;
			  z_accel=(int)ADXL345_GetZ_ACCEL()+648;
			  GRAPH_DATA_YT_AddValue(hData, (uint16_t)((x_accel)>>2));
			  GRAPH_DATA_YT_AddValue(hData1, (uint16_t)((y_accel)>>2));
			  GRAPH_DATA_YT_AddValue(hData2, (uint16_t)((z_accel)>>2));
			  if(HAL_GPIO_ReadPin(GPIOD, GPIO_PIN_3)==GPIO_PIN_SET&&SD_present)
			  {
				  if(state==ACCEL)
				  {
					  GUI_StoreKey(GUI_ID_USER + 0x04 + ACCEL);
					  logg=0;
				  }

				  SD_present=0;

			  }
			  if(HAL_GPIO_ReadPin(GPIOD, GPIO_PIN_3)==GPIO_PIN_RESET&&!SD_present)
			  {
				  if(state==ACCEL)
				  {
					  CHECKBOX_SetTextColor (WM_GetDialogItem(hWin, (GUI_ID_USER + 0x04 +	ACCEL)), GUI_BLACK);
				  }
				  SD_present=1;
			  }

			  if(logg)
			  {
				  sprintf((char*)dataLOG, "%d\t%d\t%d%s", (uint16_t)x_accel, (uint16_t)y_accel, (uint16_t)z_accel, "\n");

				  f_printf(&AccelFile, "%s", dataLOG);
				  f_sync(&AccelFile);
			  }

			  if(keyPressed==(GUI_ID_USER + 0x04 + ACCEL)) // log check box
			  {
					logg=0;
					if(!SD_present)
					{
						 CHECKBOX_SetState(WM_GetDialogItem(hWin, (GUI_ID_USER + 0x04 +	ACCEL)), CHECKBOX_BI_INACTIV_UNCHECKED);
						 CHECKBOX_SetText(WM_GetDialogItem(hWin, (GUI_ID_USER + 0x04 +	ACCEL)), "Log");
						 CHECKBOX_SetTextColor (WM_GetDialogItem(hWin, (GUI_ID_USER + 0x04 + ACCEL)), GUI_RED);
						 f_close(&AccelFile);
						 f_mount(0, SDPath, 1);
						 FATFS_UnLinkDriver(SDPath);
					}
					else
					{

					  if(CHECKBOX_IsChecked(WM_GetDialogItem(hWin, (GUI_ID_USER + 0x04 + ACCEL))))
					  {
						  FATFS_LinkDriver(&SD_Driver, SDPath);
						  res=f_mount(&myFAT, SDPath, 1);
						  if(res==FR_OK)
						  {
							  f_open(&AccelFile, "accel.txt", FA_OPEN_ALWAYS|FA_WRITE|FA_READ);
							  f_lseek(&AccelFile, f_size(&AccelFile));
							  logg=1;
							  CHECKBOX_SetText(WM_GetDialogItem(hWin, (GUI_ID_USER + 0x04 +	ACCEL)), "Log->ON");
							  CHECKBOX_SetTextColor (WM_GetDialogItem(hWin, (GUI_ID_USER + 0x04 + ACCEL)), GUI_GREEN);
						  }

					  }
					  else
					  {
						  f_close(&AccelFile);
						  f_mount(0, SDPath, 1);
						  FATFS_UnLinkDriver(SDPath);
						  CHECKBOX_SetText(WM_GetDialogItem(hWin, (GUI_ID_USER + 0x04 +	ACCEL)), "Log");
						  CHECKBOX_SetTextColor (WM_GetDialogItem(hWin, (GUI_ID_USER + 0x04 + ACCEL)), GUI_BLACK);

					  }
					}
					GUI_Delay(200);
			  }

			  if(keyPressed==(GUI_ID_USER + 0x03 + ACCEL)) // close btn
			  {
					WM_DeleteWindow(hWin);
					state=MENU;
					graph=0;
					logg=0;
					f_close(&AccelFile);
					f_mount(0, SDPath, 1);
					FATFS_UnLinkDriver(SDPath);
					hWin=CreateMENU();
					SCROLLBAR_SetValue(WM_GetDialogItem(hWin, (GUI_ID_USER + 0x0E)),scroll_state);
					GUI_Delay(200);
			  }
	  		  break;
	  	  case TIME:
			  HAL_RTC_GetTime(&hrtc, &htime, RTC_FORMAT_BIN);
			  HAL_RTC_GetDate(&hrtc, &hdate, RTC_FORMAT_BIN);
			  dataADC[0]=0x30;
			  dataADC[1]=0x30;
			  sprintf((char*)dataADC, "%02d", (uint16_t)htime.Seconds);
			  EDIT_SetText(WM_GetDialogItem(hWin, (GUI_ID_USER + 0x04 + TIME)), dataADC);
			  sprintf((char*)dataADC, "%02d", (uint16_t)htime.Minutes);
			  EDIT_SetText(WM_GetDialogItem(hWin, (GUI_ID_USER + 0x03 + TIME)), dataADC);
			  sprintf((char*)dataADC, "%02d", (uint16_t)htime.Hours);
			  EDIT_SetText(WM_GetDialogItem(hWin, (GUI_ID_USER + 0x02 + TIME)), dataADC);
			  sprintf((char*)dataADC, "%02d/%02d/%02d", (uint16_t)hdate.Date, (uint16_t)hdate.Month, (uint16_t)hdate.Year);
			  TEXT_SetText(WM_GetDialogItem(hWin, (GUI_ID_USER + 0x0B + TIME)), dataADC);

			  if(keyPressed==(GUI_ID_USER + 0x09 + TIME))// Set time
			  {
					WM_DeleteWindow(hWin1);
					state=SETTIME;
					hWin1=CreateSETTIME();
					SPINBOX_SetValue(WM_GetDialogItem(hWin1, (GUI_ID_USER + 0x02 + SETTIME)),htime.Hours);
					SPINBOX_SetValue(WM_GetDialogItem(hWin1, (GUI_ID_USER + 0x03 + SETTIME)),htime.Minutes);
					SPINBOX_SetValue(WM_GetDialogItem(hWin1, (GUI_ID_USER + 0x04 + SETTIME)),htime.Seconds);
					GUI_Delay(200);
			  }

			  if(keyPressed==(GUI_ID_USER + 0x0A + TIME))// Set date
			  {
					WM_DeleteWindow(hWin1);
					state=SETDATE;
					hWin1=CreateSETDATE();
					SPINBOX_SetValue(WM_GetDialogItem(hWin1, (GUI_ID_USER + 0x02 + SETDATE)),hdate.Date);
					SPINBOX_SetValue(WM_GetDialogItem(hWin1, (GUI_ID_USER + 0x03 + SETDATE)),hdate.Month);
					SPINBOX_SetValue(WM_GetDialogItem(hWin1, (GUI_ID_USER + 0x04 + SETDATE)),hdate.Year);
					GUI_Delay(200);
			  }

			  if(keyPressed==(GUI_ID_USER + 0x07 + TIME)) // close btn
			  {
					WM_DeleteWindow(hWin1);
					WM_DeleteWindow(hWin);
					state=MENU;
					hWin=CreateMENU();
					SCROLLBAR_SetValue(WM_GetDialogItem(hWin, (GUI_ID_USER + 0x0E)),scroll_state);
					GUI_Delay(200);
			  }

	  		  break;
	  	  case TOUCH:
	  		  GUI_Clear();

	  		  GUI_SetFont(&GUI_Font8x16);
	  		  GUI_SetColor(GUI_WHITE);
	  		  GUI_DispStringAt("Touch RED circle ", 170, 130);
	  		  HAL_Delay(500);

	  		  GUI_SetColor(GUI_RED);
	  		  GUI_DrawCircle(RcalX[0], RcalY[0], 3);
	  		  GUI_FillCircle(RcalX[0], RcalY[0], 3);
	  		  while(!STMPE610_IsTouched());
	  		  HAL_Delay(300);
	  		  STMPE610_read_xyz();
	  		  GUI_SetColor(GUI_GREEN);
	  		  GUI_DrawCircle(RcalX[0], RcalY[0], 3);
	  		  GUI_FillCircle(RcalX[0], RcalY[0], 3);
	  		  ScalX[0]=STMPE610_GetX_TOUCH_RAW();
	  		  ScalY[0]=STMPE610_GetY_TOUCH_RAW();
	  		  sprintf((char*)dataADC, "%d", (uint16_t)ScalX[0]);
	  		  GUI_DispStringAt(dataADC, RcalX[0]+10, RcalY[0]-5);
	  		  sprintf((char*)dataADC, "%d", (uint16_t)ScalY[0]);
	  		  GUI_DispStringAt(dataADC, RcalX[0]+10, RcalY[0]+10);

	  		  GUI_SetColor(GUI_RED);
	  		  GUI_DrawCircle(RcalX[1], RcalY[1], 3);
	  		  GUI_FillCircle(RcalX[1], RcalY[1], 3);
	  		  while(!STMPE610_IsTouched());
	  		  HAL_Delay(300);
	  		  STMPE610_read_xyz();
	  		  GUI_SetColor(GUI_GREEN);
	  		  GUI_DrawCircle(RcalX[1], RcalY[1], 3);
	  		  GUI_FillCircle(RcalX[1], RcalY[1], 3);
	  		  ScalX[1]=STMPE610_GetX_TOUCH_RAW();
	  		  ScalY[1]=STMPE610_GetY_TOUCH_RAW();
	  		  sprintf((char*)dataADC, "%d", (uint16_t)ScalX[1]);
	  		  GUI_DispStringAt(dataADC, RcalX[1]+10, RcalY[1]-17);
	  		  sprintf((char*)dataADC, "%d", (uint16_t)ScalY[1]);
	  		  GUI_DispStringAt(dataADC, RcalX[1]+10, RcalY[1]-3);

	  		  GUI_SetColor(GUI_RED);
	  		  GUI_DrawCircle(RcalX[2], RcalY[2], 3);
	  		  GUI_FillCircle(RcalX[2], RcalY[2], 3);
	  		  while(!STMPE610_IsTouched());
	  		  HAL_Delay(300);
	  		  STMPE610_read_xyz();
	  		  GUI_SetColor(GUI_GREEN);
	  		  GUI_DrawCircle(RcalX[2], RcalY[2], 3);
	  		  GUI_FillCircle(RcalX[2], RcalY[2], 3);
	  		  ScalX[2]=STMPE610_GetX_TOUCH_RAW();
	  		  ScalY[2]=STMPE610_GetY_TOUCH_RAW();
	  		  sprintf((char*)dataADC, "%d", (uint16_t)ScalX[2]);
	  		  GUI_DispStringAt(dataADC, RcalX[2]-40, RcalY[2]-10);
	  		  sprintf((char*)dataADC, "%d", (uint16_t)ScalY[2]);
	  		  GUI_DispStringAt(dataADC, RcalX[2]-40, RcalY[2]+5);

	  		  HAL_Delay(1000);

	  		  GUI_TOUCH_CalcCoefficients(3, RcalX, RcalY, ScalX, ScalY, 480, 272);

	  		  GUI_Clear();
	  		  GUI_SetColor(GUI_WHITE);
	  		  GUI_DispStringAt("Test calibration - PRESS touch panel", 100, 130);

	  		  for(i=0; i<200; i++)
	  		  {
	  			  STMPE610_read_xyz();
	  			  GUI_TOUCH_Exec();
	  			  if(GUI_TOUCH_GetState(&hstate))
	  			  {
	  				  GUI_DrawPoint(hstate.x, hstate.y);
	  			  }
	  			  HAL_Delay(50);
	  		  }

	  		  GUI_Clear();
	  		  GUI_SetColor(GUI_WHITE);
	  		  GUI_DispStringAt("PRESS touch panel if calibration is OK before time expires", 10, 120);
	  		  HAL_Delay(300);
	  		  for(j=0; j<10; j++)
	  		  {
				  for(i=0; i<100; i++)
				  {
					  HAL_Delay(10);

					 STMPE610_read_xyz();
					 GUI_TOUCH_Exec();
					 if(GUI_TOUCH_GetState(&hstate))
					 {
						 GUI_Clear();
						 GUI_DispStringAt("Calibration DONE!!!", 160, 120);
						 HAL_Delay(1000);
						 GUI_Clear();

						 state=MENU;
						 hWin=CreateMENU();
			 		  	 SCROLLBAR_SetValue(WM_GetDialogItem(hWin, (GUI_ID_USER + 0x0E)),scroll_state);

						 GUI_Exec();

						 j=10;
						 i=100;

					 }
				  }
				  sprintf((char*)dataADC, "%d", (uint16_t)(9-j));
				  GUI_DispStringAt(dataADC, 235, 140);
	  		  }
	  		  GUI_Clear();
	  		  GUI_DispStringAt("Repeating Calibration!!!", 160, 120);
	  		  HAL_Delay(1000);
	  		  break;
	  	  case SLIDE:
	  		  GUI_Clear();

			  SSD1963_SetArea(0, 479, 272, 543);
			  loadBMPfromSD("images/im1.bmp");
			  SSD1963_SetScrollStart(272);
			  HAL_Delay(2000);

			  SSD1963_SetArea(0, 479, 544, 815);
			  loadBMPfromSD("images/im2.bmp");
			  SSD1963_SetScrollStart(544);
			  HAL_Delay(2000);

			  SSD1963_SetArea(0, 479, 0, 271);
			  loadBMPfromSD("images/im3.bmp");
			  SSD1963_SetScrollStart(0);
			  HAL_Delay(2000);

			  SSD1963_SetArea(0, 479, 544, 815);
			  loadBMPfromSD("images/im4.bmp");
			  SSD1963_SetScrollStart(544);
			  HAL_Delay(2000);

			  SSD1963_SetArea(0, 479, 0, 271);
			  loadBMPfromSD("images/im5.bmp");
			  SSD1963_SetScrollStart(0);
			  HAL_Delay(2000);

			  state=MENU;
 		  	  hWin=CreateMENU();
 		  	  SCROLLBAR_SetValue(WM_GetDialogItem(hWin, (GUI_ID_USER + 0x0E)),scroll_state);
 		  	  GUI_Delay(200);
	  		  break;
	  	  case BUZZER:
	  		  if(keyPressed==(GUI_ID_USER + 0x03 + BUZZER))//buzzer close btn
	  		  {
				  WM_DeleteWindow(hWin);
	  	  	  	  state=MENU;
			 	  hWin=CreateMENU();
	 		  	  SCROLLBAR_SetValue(WM_GetDialogItem(hWin, (GUI_ID_USER + 0x0E)),scroll_state);
			 	  GUI_Delay(200);
	  		  }
	  		  break;
	  	  case MP3:
	  		  if(keyPressed==(GUI_ID_USER + 0x01 + MP3)) MP3_SetState(BACKWARD);
	  		  if(keyPressed==(GUI_ID_USER + 0x02 + MP3)) MP3_SetState(PLAY);
	  		  if(keyPressed==(GUI_ID_USER + 0x03 + MP3)) MP3_SetState(PAUSE);
	  		  if(keyPressed==(GUI_ID_USER + 0x04 + MP3)) MP3_SetState(STOP);
	  		  if(keyPressed==(GUI_ID_USER + 0x05 + MP3)) MP3_SetState(FORWARD);

	  		  MP3_Exec();

	  		  volume=100-SLIDER_GetValue(WM_GetDialogItem(hWin, (GUI_ID_USER + 0x07 + MP3)));
	  		  VS1053_SetVolume(volume, volume);

	  		  if(keyPressed==(GUI_ID_USER + 0x09 + MP3)) // mp3 close btn
	  		  {
				  WM_DeleteWindow(hWin);
  	  	  	  	  MP3_Close();
	  	  	  	  state=MENU;
			 	  hWin=CreateMENU();
	 		  	  SCROLLBAR_SetValue(WM_GetDialogItem(hWin, (GUI_ID_USER + 0x0E)),scroll_state);
			 	  GUI_Delay(200);
	  		  }
	  		  break;
	  	  case USB:
	  		  if(keyPressed==(GUI_ID_USER + 0x04 + USB))
	  		  {
	  			  for(i=0; i<255;i++) message[i]=0;
	  			  cursor=0;
	  		  }
	  		  if(UserRxBufferFS[0]!=0)
	  		  {
	  			  for(i=0; i<255;i++) message[i]=0;
	  			  cursor=0;
	  			  cursor=strlen((const char *)UserRxBufferFS);
	  			  strncpy(message,(char *)UserRxBufferFS,cursor);
	  			  message[cursor]=0;
	  			  UserRxBufferFS[0]=0;
	  		  }
	  		  if(keyPressed==(GUI_ID_USER + 0x05 + USB))
	  		  {
	  			  CDC_Transmit_FS((uint8_t*)message, strlen((const char *)message));
	  		  }

	  		  MULTIEDIT_SetText(WM_GetDialogItem(hWin, (GUI_ID_USER + 0x03 + USB)), (const char*)message);
	  		  if(keyPressed==(GUI_ID_USER + 0x02 + USB))//usb close btn
	  		  {
				  WM_DeleteWindow(hWin1);
	  	  	  	  WM_DeleteWindow(hWin);
	  	  	  	  state=MENU;
			 	  hWin=CreateMENU();
	 		  	  SCROLLBAR_SetValue(WM_GetDialogItem(hWin, (GUI_ID_USER + 0x0E)),scroll_state);
			 	  GUI_Delay(200);
	  		  }
	  		  break;
	  	  case FILES:
	  		  if(keyPressed==(GUI_ID_USER + 0x03 + FILES))//files close btn
			  {
				  WM_DeleteWindow(hWin);
	  	  	  	  state=MENU;
			 	  hWin=CreateMENU();
	 		  	  SCROLLBAR_SetValue(WM_GetDialogItem(hWin, (GUI_ID_USER + 0x0E)),scroll_state);
			 	  GUI_Delay(200);
			  }
	  		  break;
	  	  case INFO:
	  		  if(keyPressed==(GUI_ID_USER + 0x03 + INFO)) //info close btn
	  		  {
				  WM_DeleteWindow(hWin);
	  	  	  	  state=MENU;
			 	  hWin=CreateMENU();
	 		  	  SCROLLBAR_SetValue(WM_GetDialogItem(hWin, (GUI_ID_USER + 0x0E)),scroll_state);
			 	  GUI_Delay(200);
	  		  }
	  		  break;
		  case SETTIME:
			  val=(uint8_t)SPINBOX_GetValue(WM_GetDialogItem(hWin1, (GUI_ID_USER + 0x02 + SETTIME)));
			  if(val==24)
			  {
				  SPINBOX_SetValue(WM_GetDialogItem(hWin1, (GUI_ID_USER + 0x02 + SETTIME)),0);
				  val=0;
			  }
			  if(val==-1)
			  {
				  SPINBOX_SetValue(WM_GetDialogItem(hWin1, (GUI_ID_USER + 0x02 + SETTIME)),23);
				  val=23;
			  }
			  htime.Hours=val;

			  val=(uint8_t)SPINBOX_GetValue(WM_GetDialogItem(hWin1, (GUI_ID_USER + 0x03 + SETTIME)));
			  if(val==60)
			  {
				  SPINBOX_SetValue(WM_GetDialogItem(hWin1, (GUI_ID_USER + 0x03 + SETTIME)),0);
				  val=0;
			  }
			  if(val==-1)
			  {
				  SPINBOX_SetValue(WM_GetDialogItem(hWin1, (GUI_ID_USER + 0x03 + SETTIME)),59);
				  val=59;
			  }
			  htime.Minutes=val;

			  val=(uint8_t)SPINBOX_GetValue(WM_GetDialogItem(hWin1, (GUI_ID_USER + 0x04 + SETTIME)));
			  if(val==60)
			  {
				  SPINBOX_SetValue(WM_GetDialogItem(hWin1, (GUI_ID_USER + 0x04 + SETTIME)),0);
				  val=0;
			  }
			  if(val==-1)
			  {
				  SPINBOX_SetValue(WM_GetDialogItem(hWin1, (GUI_ID_USER + 0x04 + SETTIME)),59);
				  val=59;
			  }
			  htime.Seconds=val;

			  if(keyPressed==(GUI_ID_USER + 0x06 + SETTIME))//Cancel
			  {
							WM_DeleteWindow(hWin1);
							state=TIME;
							GUI_Delay(200);
			  }
			  if(keyPressed==(GUI_ID_USER + 0x05 + SETTIME))//OK
			  {
							WM_DeleteWindow(hWin1);
							HAL_RTC_SetTime(&hrtc, &htime, RTC_FORMAT_BIN);
							state=TIME;
							GUI_Delay(200);
			  }
			  break;
		  case SETDATE:
			  val=(uint8_t)SPINBOX_GetValue(WM_GetDialogItem(hWin1, (GUI_ID_USER + 0x02 + SETDATE)));
			  if(val==32)
			  {
				  SPINBOX_SetValue(WM_GetDialogItem(hWin1, (GUI_ID_USER + 0x02 + SETDATE)),1);
				  val=1;
			  }
			  if(val==0)
			  {
				  SPINBOX_SetValue(WM_GetDialogItem(hWin1, (GUI_ID_USER + 0x02 + SETDATE)),31);
				  val=31;
			  }
			  hdate.Date=val;

			  val=(uint8_t)SPINBOX_GetValue(WM_GetDialogItem(hWin1, (GUI_ID_USER + 0x03 + SETDATE)));
			  if(val==13)
			  {
				  SPINBOX_SetValue(WM_GetDialogItem(hWin1, (GUI_ID_USER + 0x03 + SETDATE)),1);
				  val=1;
			  }
			  if(val==0)
			  {
				  SPINBOX_SetValue(WM_GetDialogItem(hWin1, (GUI_ID_USER + 0x03 + SETDATE)),12);
				  val=12;
			  }
			  hdate.Month=val;

			  val=(uint8_t)SPINBOX_GetValue(WM_GetDialogItem(hWin1, (GUI_ID_USER + 0x04 + SETDATE)));
			  hdate.Year=val;

			  if(keyPressed==(GUI_ID_USER + 0x06 + SETDATE))//Cancel
			  {
					WM_DeleteWindow(hWin1);
					state=TIME;
					GUI_Delay(200);
			  }
			  if(keyPressed==(GUI_ID_USER + 0x05 + SETDATE))//OK
			  {
					WM_DeleteWindow(hWin1);
					HAL_RTC_SetDate(&hrtc, &hdate, RTC_FORMAT_BIN);
					state=TIME;
					GUI_Delay(200);
			  }
			  break;
	  }
}
/* USER CODE END 4 */

void _Error_Handler(char *file, int line)
{
  while(1)
  {
  }
}

/************************ (C) COPYRIGHT STMicroelectronics *****END OF FILE****/
